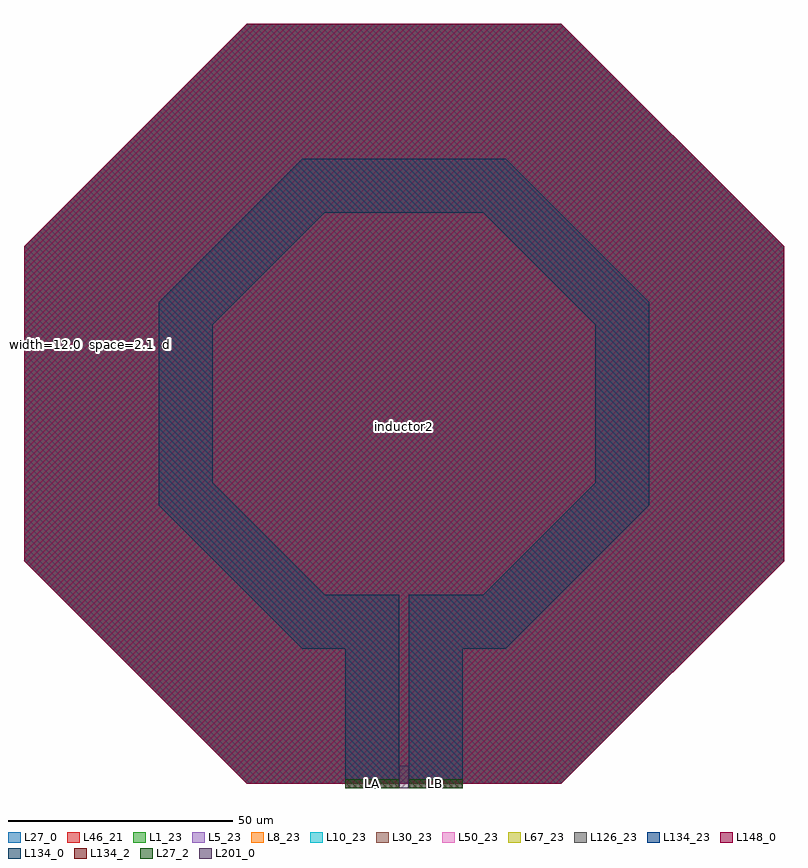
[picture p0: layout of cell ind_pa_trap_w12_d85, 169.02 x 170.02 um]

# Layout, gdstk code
import gdstk
lib = gdstk.Library(unit=1e-6, precision=1e-09)
def R(c, l, rs):  # rectangles x0, y0, x1, y1
    for r in rs: c.add(gdstk.rectangle(r[:2], r[2:], *l))
def P(c, l, *ps):  # polygons
    for p in ps: c.add(gdstk.Polygon(p, *l))
L1_23 = (1, 23)
L5_23 = (5, 23)
L8_23 = (8, 23)
L10_23 = (10, 23)
L27_0 = (27, 0)
L27_2 = (27, 2)
L30_23 = (30, 23)
L46_21 = (46, 21)
L50_23 = (50, 23)
L67_23 = (67, 23)
L126_23 = (126, 23)
L134_0 = (134, 0)
L134_2 = (134, 2)
L134_23 = (134, 23)
L148_0 = (148, 0)
L201_0 = (201, 0)

ind_pa_trap_w12_d85 = lib.new_cell('ind_pa_trap_w12_d85')
P(ind_pa_trap_w12_d85, L1_23, [(-35.005,0),(-84.51,49.505),(-84.51,119.515),(-35.005,169.02),(35.005,169.02),(84.51,119.515),(84.51,49.505),(35.005,0)])
P(ind_pa_trap_w12_d85, L5_23, [(-35.005,0),(-84.51,49.505),(-84.51,119.515),(-35.005,169.02),(35.005,169.02),(84.51,119.515),(84.51,49.505),(35.005,0)])
P(ind_pa_trap_w12_d85, L8_23, [(-35.005,0),(-84.51,49.505),(-84.51,119.515),(-35.005,169.02),(35.005,169.02),(84.51,119.515),(84.51,49.505),(35.005,0)])
P(ind_pa_trap_w12_d85, L10_23, [(-35.005,0),(-84.51,49.505),(-84.51,119.515),(-35.005,169.02),(35.005,169.02),(84.51,119.515),(84.51,49.505),(35.005,0)])
P(ind_pa_trap_w12_d85, L27_0, [(-35.005,0),(-84.51,49.505),(-84.51,119.515),(-35.005,169.02),(35.005,169.02),(84.51,119.515),(84.51,49.505),(35.005,0)])
R(ind_pa_trap_w12_d85, L27_2, [(-13.05,-1,-1.05,1), (1.05,-1,13.05,1)])
P(ind_pa_trap_w12_d85, L30_23, [(-35.005,0),(-84.51,49.505),(-84.51,119.515),(-35.005,169.02),(35.005,169.02),(84.51,119.515),(84.51,49.505),(35.005,0)])
P(ind_pa_trap_w12_d85, L46_21, [(-35.005,0),(-84.51,49.505),(-84.51,119.515),(-35.005,169.02),(35.005,169.02),(84.51,119.515),(84.51,49.505),(35.005,0)])
P(ind_pa_trap_w12_d85, L50_23, [(-35.005,0),(-84.51,49.505),(-84.51,119.515),(-35.005,169.02),(35.005,169.02),(84.51,119.515),(84.51,49.505),(35.005,0)])
P(ind_pa_trap_w12_d85, L67_23, [(-35.005,0),(-84.51,49.505),(-84.51,119.515),(-35.005,169.02),(35.005,169.02),(84.51,119.515),(84.51,49.505),(35.005,0)])
P(ind_pa_trap_w12_d85, L126_23, [(-35.005,0),(-84.51,49.505),(-84.51,119.515),(-35.005,169.02),(35.005,169.02),(84.51,119.515),(84.51,49.505),(35.005,0)])
R(ind_pa_trap_w12_d85, L134_0, [(-10.425,127,10.425,139)])
P(ind_pa_trap_w12_d85, L134_0, [(1.05,30),(1.05,42),(17.6,42),(42.5,66.9),(42.5,102.1),(17.6,127),(10.425,127),(10.425,139),(22.58,139),(54.5,107.08),(54.5,61.92),(22.58,30)],
  [(-22.58,30),(-54.5,61.92),(-54.5,107.08),(-22.58,139),(-10.425,139),(-10.425,127),(-17.6,127),(-42.5,102.1),(-42.5,66.9),(-17.6,42),(-1.05,42),(-1.05,30)])
R(ind_pa_trap_w12_d85, L134_2, [(-13.05,-1,-1.05,1), (-13.05,-1,-1.05,1), (1.05,-1,13.05,1), (1.05,-1,13.05,1)])
P(ind_pa_trap_w12_d85, L134_23, [(-35.005,0),(-84.51,49.505),(-84.51,119.515),(-35.005,169.02),(35.005,169.02),(84.51,119.515),(84.51,49.505),(35.005,0)])
P(ind_pa_trap_w12_d85, L148_0, [(-35.005,0),(-84.51,49.505),(-84.51,119.515),(-35.005,169.02),(35.005,169.02),(84.51,119.515),(84.51,49.505),(35.005,0)])
R(ind_pa_trap_w12_d85, L201_0, [(-1.05,-1,1.05,4)])
ind_pa_trap_w12_d85.add(gdstk.FlexPath([(7.05,-1),(7.05,42)], 12, ends="flush", simple_path=True, layer=134, datatype=0))  # L134_0
ind_pa_trap_w12_d85.add(gdstk.FlexPath([(-7.05,-1),(-7.05,42)], 12, ends="flush", simple_path=True, layer=134, datatype=0))  # L134_0
ind_pa_trap_w12_d85.add(gdstk.Label('LB', (7.05,0), layer=27, texttype=25))
ind_pa_trap_w12_d85.add(gdstk.Label('LA', (-7.05,0), layer=27, texttype=25))
ind_pa_trap_w12_d85.add(gdstk.Label('inductor2', (0,79.373), layer=63, texttype=0))
ind_pa_trap_w12_d85.add(gdstk.Label('  width=12.0\n  space=2.1\n  diameter=85.00\n  turns=1', (-84.51,97.758), layer=63, texttype=0))

lib.write_gds('ind_pa_trap_w12_d85.gds')
